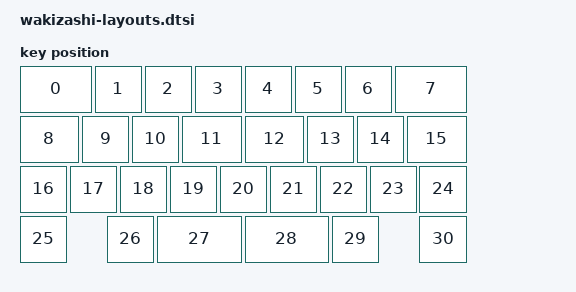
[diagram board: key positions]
#include <physical_layouts.dtsi>
/ {
    wakizashi_physical_layout: wakizashi_physical_layout {
        compatible = "zmk,physical-layout";
        display-name = "wakizashi";
        kscan = <&kscan0>;
        transform = <&default_transform>;

        keys  //                     w   h    x    y     rot    rx    ry
            = <&key_physical_attrs 150 100    0    0       0     0     0>
            , <&key_physical_attrs 100 100  150    0       0     0     0>
            , <&key_physical_attrs 100 100  250    0       0     0     0>
            , <&key_physical_attrs 100 100  350    0       0     0     0>
            , <&key_physical_attrs 100 100  450    0       0     0     0>
            , <&key_physical_attrs 100 100  550    0       0     0     0>
            , <&key_physical_attrs 100 100  650    0       0     0     0>
            , <&key_physical_attrs 150 100  750    0       0     0     0>
            , <&key_physical_attrs 125 100    0  100       0     0     0>
            , <&key_physical_attrs 100 100  125  100       0     0     0>
            , <&key_physical_attrs 100 100  225  100       0     0     0>
            , <&key_physical_attrs 125 100  325  100       0     0     0>
            , <&key_physical_attrs 125 100  450  100       0     0     0>
            , <&key_physical_attrs 100 100  575  100       0     0     0>
            , <&key_physical_attrs 100 100  675  100       0     0     0>
            , <&key_physical_attrs 125 100  775  100       0     0     0>
            , <&key_physical_attrs 100 100    0  200       0     0     0>
            , <&key_physical_attrs 100 100  100  200       0     0     0>
            , <&key_physical_attrs 100 100  200  200       0     0     0>
            , <&key_physical_attrs 100 100  300  200       0     0     0>
            , <&key_physical_attrs 100 100  400  200       0     0     0>
            , <&key_physical_attrs 100 100  500  200       0     0     0>
            , <&key_physical_attrs 100 100  600  200       0     0     0>
            , <&key_physical_attrs 100 100  700  200       0     0     0>
            , <&key_physical_attrs 100 100  800  200       0     0     0>
            , <&key_physical_attrs 100 100    0  300       0     0     0>
            , <&key_physical_attrs 100 100  175  300       0     0     0>
            , <&key_physical_attrs 175 100  275  300       0     0     0>
            , <&key_physical_attrs 175 100  450  300       0     0     0>
            , <&key_physical_attrs 100 100  625  300       0     0     0>
            , <&key_physical_attrs 100 100  800  300       0     0     0>
            ;
    };

    position_map {
        compatible = "zmk,physical-layout-position-map";

        complete;

        wakizashi_physical_layout {
            physical-layout = <&wakizashi_physical_layout>;
            positions = < 0  1  2  3     4  5  6  7  >
		      , < 8  9  10 11    12 13 14 15 >
		      , < 16 17 18 19 20 21 22 23 24 >
		      , < 25    26 27    28 29    30 >;
        };
    };
};
